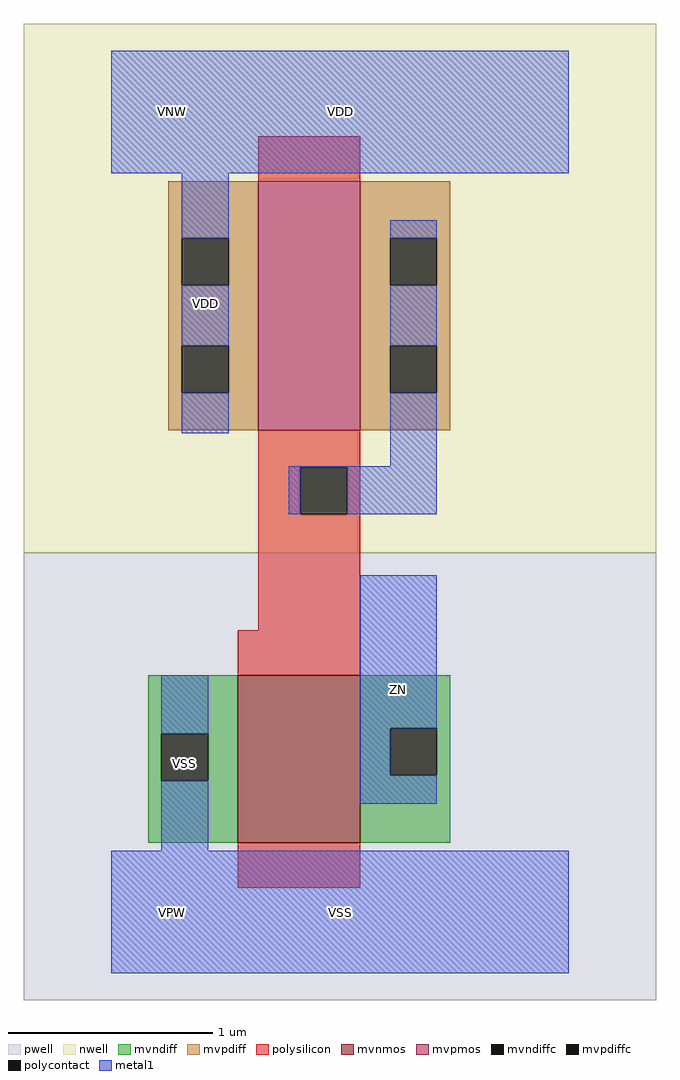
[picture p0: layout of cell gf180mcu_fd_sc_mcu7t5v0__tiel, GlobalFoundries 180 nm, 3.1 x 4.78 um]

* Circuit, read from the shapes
.subckt gf180mcu_fd_sc_mcu7t5v0__tiel ZN VDD VNW VPW VSS
XM1 ZN n1 VSS VPW nfet_06v0 w=0.82u l=0.6u
XM2 n1 n1 VDD VNW pfet_06v0 w=1.22u l=0.5u
.ends

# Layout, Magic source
magic
tech gf180mcuD
magscale 1 10
<< nwell >>
rect -86 352 534 870
<< pwell >>
rect -86 -86 534 352
<< mvnmos >>
rect 124 68 244 232
<< mvpmos >>
rect 144 472 244 716
<< mvndiff >>
rect 36 175 124 232
rect 36 129 49 175
rect 95 129 124 175
rect 36 68 124 129
rect 244 180 332 232
rect 244 134 273 180
rect 319 134 332 180
rect 244 68 332 134
<< mvpdiff >>
rect 56 660 144 716
rect 56 614 69 660
rect 115 614 144 660
rect 56 555 144 614
rect 56 509 69 555
rect 115 509 144 555
rect 56 472 144 509
rect 244 660 332 716
rect 244 614 273 660
rect 319 614 332 660
rect 244 555 332 614
rect 244 509 273 555
rect 319 509 332 555
rect 244 472 332 509
<< mvndiffc >>
rect 49 129 95 175
rect 273 134 319 180
<< mvpdiffc >>
rect 69 614 115 660
rect 69 509 115 555
rect 273 614 319 660
rect 273 509 319 555
<< polysilicon >>
rect 144 716 244 760
rect 144 436 244 472
rect 144 390 185 436
rect 231 390 244 436
rect 144 276 244 390
rect 124 232 244 276
rect 124 24 244 68
<< polycontact >>
rect 185 390 231 436
<< metal1 >>
rect 0 724 448 844
rect 69 660 115 724
rect 69 555 115 614
rect 69 469 115 509
rect 273 660 319 678
rect 273 555 319 614
rect 273 437 319 509
rect 174 436 319 437
rect 174 390 185 436
rect 231 390 319 436
rect 49 175 95 232
rect 49 60 95 129
rect 244 180 319 330
rect 244 134 273 180
rect 244 106 319 134
rect 0 -60 448 60
<< labels >>
flabel metal1 s 244 106 319 330 0 FreeSans 400 0 0 0 ZN
port 1 nsew default output
flabel metal1 s 0 724 448 844 0 FreeSans 400 0 0 0 VDD
port 2 nsew power bidirectional abutment
flabel metal1 s 49 60 95 232 0 FreeSans 400 0 0 0 VSS
port 5 nsew ground bidirectional abutment
flabel nwell s 10 734 110 834 0 FreeSans 400 0 0 0 VNW
port 3 nsew power bidirectional
flabel pwell s 10 -50 110 50 0 FreeSans 400 0 0 0 VPW
port 4 nsew ground bidirectional
rlabel metal1 s 69 469 115 724 1 VDD
port 2 nsew power bidirectional abutment
rlabel metal1 s 0 -60 448 60 1 VSS
port 5 nsew ground bidirectional abutment
<< properties >>
string FIXED_BBOX 0 0 448 784
string GDS_END 320310
string GDS_FILE $PDKPATH/libs.ref/gf180mcu_fd_sc_mcu7t5v0/gds/gf180mcu_fd_sc_mcu7t5v0.gds
string GDS_START 318224
string LEFclass core TIELOW
string LEFsite GF018hv5v_mcu_sc7
string LEFsymmetry X Y
string MASKHINTS_DUALGATE -56 764 64 840 324 764 504 840 -56 424 8 764 380 424 504 764 -56 280 44 424 324 280 504 424 -56 20 -12 280 380 20 504 280 -56 -56 44 20 324 -56 504 20
string MASKHINTS_NPLUS -40 278 488 352 -40 264 78 278 290 264 488 278 -40 36 4 264 364 36 488 264 -40 22 78 36 290 22 488 36 -40 -40 488 22
string MASKHINTS_PPLUS -40 762 488 824 -40 748 98 762 290 748 488 762 -40 440 24 748 364 440 488 748 -40 426 98 440 290 426 488 440 -40 352 488 426
<< end >>
